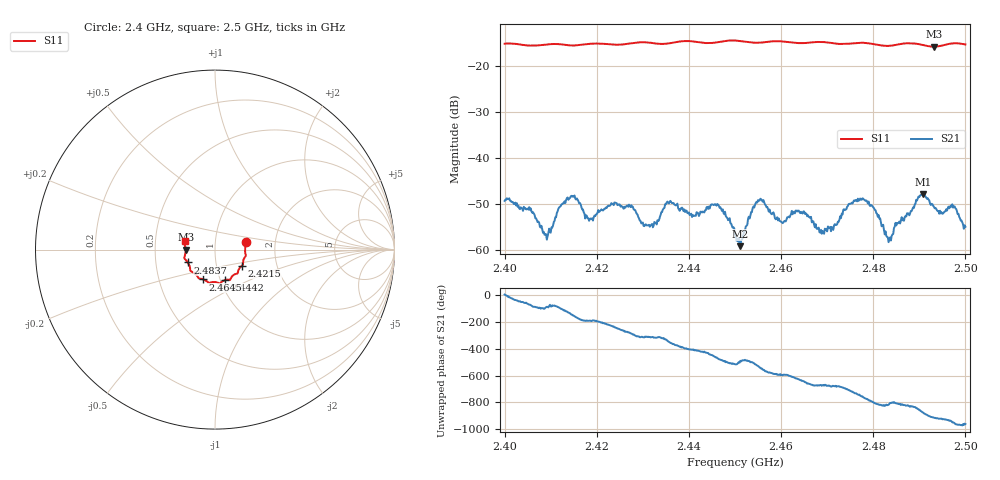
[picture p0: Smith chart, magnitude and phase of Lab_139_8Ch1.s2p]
# Hz S RI R 50
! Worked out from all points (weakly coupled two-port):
!   601 points, 2.4 GHz to 2.5 GHz, reference 50 ohm
!   highest |S21| = -47.76 dB at 2.4908 GHz (marker M1); lowest = -59.1 dB at 2.4512 GHz (marker M2)
!   lowest |S11| = -15.7 dB at 2.4932 GHz (marker M3), VSWR 1.39, Z = 35.9 - j0.0605 ohm
!   |S11| at or under -10 dB: start of sweep to end of sweep
!   S12 and S22 are empty: the file has one direction only
!   S11 on the Smith chart (normalised r, x): 2.4 GHz: 1.41, +0.12; 2.4215 GHz: 1.33, -0.25; 2.4442 GHz: 1.05, -0.37; 2.4645 GHz: 0.83, -0.29; 2.4837 GHz: 0.73, -0.11; 2.5 GHz: 0.71, +0.07
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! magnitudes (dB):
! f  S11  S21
! 2.4 GHz  -15.1  -49.3
! 2.4088 GHz  -15.3  -56.5
! 2.414 GHz  -15.4  -48.7
! 2.4167 GHz  -15.3  -50.5
! 2.4215 GHz  -15.1  -51.2
! 2.4333 GHz  -15.1  -53.6
! 2.4357 GHz  -15.0  -49.8
! 2.4442 GHz  -15.0  -51.0
! 2.45 GHz  -14.4  -56.5
! 2.4512 GHz  -14.5  -59.1
! 2.4552 GHz  -14.9  -49.2
! 2.4602 GHz  -14.6  -53.9
! 2.4645 GHz  -15.0  -51.9
! 2.4667 GHz  -14.8  -53.9
! 2.4708 GHz  -14.9  -55.8
! 2.4777 GHz  -14.9  -48.7
! 2.4833 GHz  -15.6  -58.2
! 2.4837 GHz  -15.5  -57.2
! 2.4908 GHz  -15.4  -47.8
! 2.4932 GHz  -15.7  -50.5
! 2.4975 GHz  -15.0  -50.4
! 2.5 GHz  -15.2  -54.9
